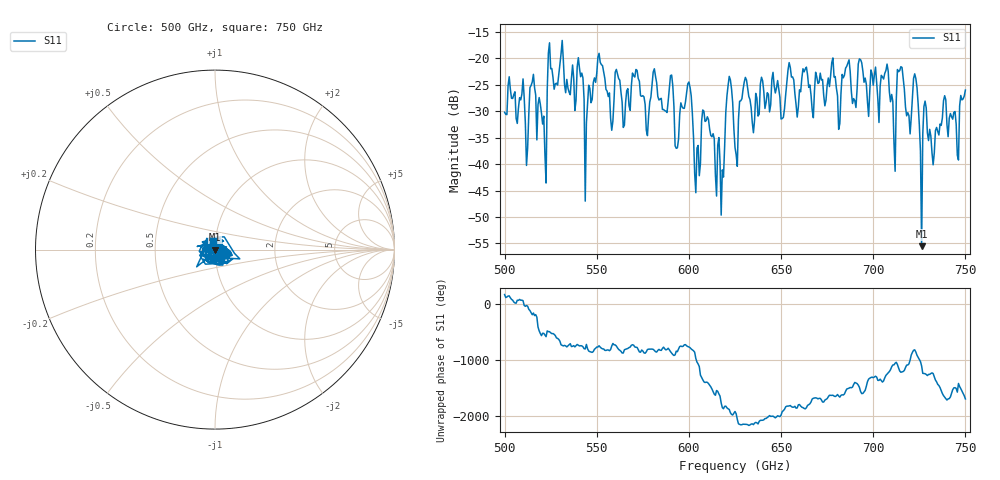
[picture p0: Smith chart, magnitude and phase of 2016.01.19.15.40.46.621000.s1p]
!Created with skrf (http://scikit-rf.org).
# GHz S RI R 50.0
!freq ReS11 ImS11
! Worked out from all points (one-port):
!   401 points, 500 GHz to 750 GHz, reference 50 ohm
!   lowest |S11| = -55.5 dB at 726.2 GHz (marker M1), VSWR 1.00, Z = 50.1 - j0.0773 ohm
!   |S11| at or under -10 dB: start of sweep to end of sweep
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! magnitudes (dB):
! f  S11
! 500 GHz  -30.2
! 511.9 GHz  -40.3
! 515 GHz  -24.5
! 521.2 GHz  -30.9
! 524.4 GHz  -17.1
! 531.2 GHz  -16.6
! 544.4 GHz  -32.3
! 551.9 GHz  -20.8
! 557.5 GHz  -31.3
! 562.5 GHz  -24.1
! 590 GHz  -23.3
! 593.8 GHz  -36.9
! 600 GHz  -24.5
! 604.4 GHz  -37.0
! 608.8 GHz  -31.9
! 618.1 GHz  -41.1
! 621.9 GHz  -23.4
! 625 GHz  -36.8
! 630.6 GHz  -23.6
! 656.2 GHz  -23.5
! 687.5 GHz  -22.5
! 706.9 GHz  -22.3
! 710.6 GHz  -28.1
! 714.4 GHz  -22.3
! 718.8 GHz  -30.3
! 723.1 GHz  -23.8
! 726.2 GHz  -55.5
! 750 GHz  -26.0
